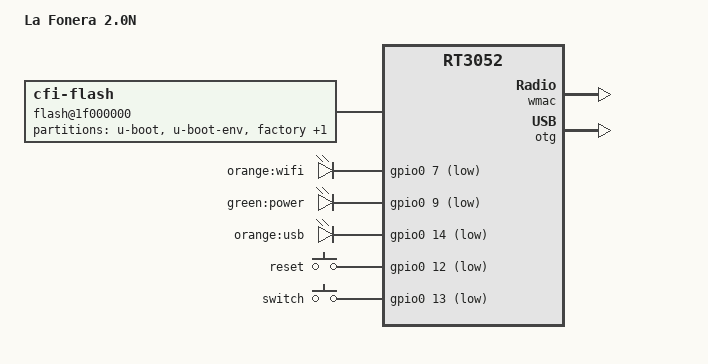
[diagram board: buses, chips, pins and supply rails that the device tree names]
#include "rt3050.dtsi"

#include <dt-bindings/gpio/gpio.h>
#include <dt-bindings/input/input.h>

/ {
	compatible = "fon,fonera-20n", "ralink,rt3052-soc";
	model = "La Fonera 2.0N";

	aliases {
		led-boot = &led_power;
		led-failsafe = &led_power;
		led-running = &led_power;
		led-upgrade = &led_power;
	};

	flash@1f000000 {
		compatible = "cfi-flash";
		reg = <0x1f000000 0x800000>;
		bank-width = <2>;
		device-width = <2>;

		partitions {
			compatible = "fixed-partitions";
			#address-cells = <1>;
			#size-cells = <1>;

			partition@0 {
				label = "u-boot";
				reg = <0x0 0x30000>;
				read-only;
			};

			partition@30000 {
				label = "u-boot-env";
				reg = <0x30000 0x10000>;
				read-only;
			};

			factory: partition@40000 {
				label = "factory";
				reg = <0x40000 0x10000>;
				read-only;
			};

			partition@50000 {
				compatible = "denx,uimage";
				label = "firmware";
				reg = <0x50000 0x7b0000>;
			};
		};
	};

	leds {
		compatible = "gpio-leds";

		wifi {
			label = "orange:wifi";
			gpios = <&gpio0 7 GPIO_ACTIVE_LOW>;
		};

		led_power: power {
			label = "green:power";
			gpios = <&gpio0 9 GPIO_ACTIVE_LOW>;
		};

		usb {
			label = "orange:usb";
			gpios = <&gpio0 14 GPIO_ACTIVE_LOW>;
			trigger-sources = <&otg_port1>;
			linux,default-trigger = "usbport";
		};
	};

	keys {
		compatible = "gpio-keys-polled";
		poll-interval = <20>;

		reset {
			label = "reset";
			gpios = <&gpio0 12 GPIO_ACTIVE_LOW>;
			linux,code = <KEY_RESTART>;
		};

		switch {
			label = "switch";
			gpios = <&gpio0 13 GPIO_ACTIVE_LOW>;
			linux,code = <KEY_RFKILL>;
			linux,input-type = <EV_SW>;
		};
	};
};

&state_default {
	gpio {
		groups = "i2c", "spi", "jtag", "mdio", "rgmii", "uartf";
		function = "gpio";
	};
};

&ethernet {
	mtd-mac-address = <&factory 0x28>;
};

&esw {
	#address-cells = <1>;
	#size-cells = <0>;

	mediatek,portmap = <0x2f>;

	port@0 {
		compatible = "swconfig,port";
		reg = <0>;
		swconfig,segment = "lan";
		swconfig,portmap = <0 4>;
	};

	port@1 {
		compatible = "swconfig,port";
		reg = <1>;
		swconfig,segment = "lan";
		swconfig,portmap = <1 3>;
	};

	port@2 {
		compatible = "swconfig,port";
		reg = <2>;
		swconfig,segment = "lan";
		swconfig,portmap = <2 2>;
	};

	port@3 {
		compatible = "swconfig,port";
		reg = <3>;
		swconfig,segment = "lan";
		swconfig,portmap = <3 1>;
	};

	port@4 {
		compatible = "swconfig,port";
		reg = <4>;
		swconfig,segment = "wan";
		swconfig,portmap = <4 0>;
	};
};

&wmac {
	ralink,mtd-eeprom = <&factory 0x0>;
};

&otg {
	status = "okay";
};
